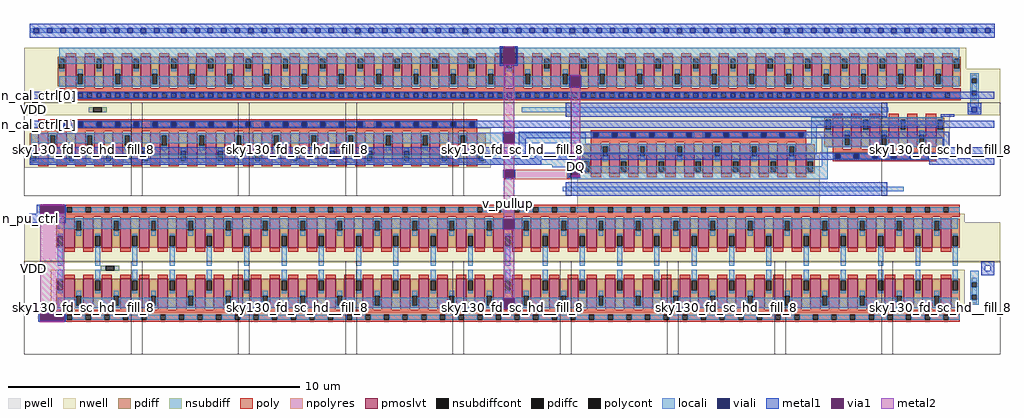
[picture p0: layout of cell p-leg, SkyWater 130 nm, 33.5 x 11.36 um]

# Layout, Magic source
magic
tech sky130A
magscale 1 2
<< nwell >>
rect -34 1925 160 2067
rect -34 1680 6666 1925
rect -14 1604 6666 1680
rect 3722 1351 5429 1604
rect 3763 929 5429 1169
rect -34 592 6666 869
<< pwell >>
rect 30 2162 74 2196
rect 766 2162 810 2196
rect 1502 2162 1546 2196
rect 2238 2162 2282 2196
rect 2974 2162 3018 2196
rect 3710 2162 3754 2196
rect 4446 2162 4490 2196
rect 5182 2162 5226 2196
rect 5918 2162 5962 2196
<< nsubdiff >>
rect 6473 1857 6507 1881
rect 6473 1773 6507 1823
rect 6473 1706 6507 1739
rect 409 1625 443 1659
rect 501 1625 535 1659
rect 493 537 527 571
rect 585 537 619 571
rect 6473 457 6507 490
rect 6473 373 6507 423
rect 6473 315 6507 339
<< nsubdiffcont >>
rect 6473 1823 6507 1857
rect 6473 1739 6507 1773
rect 443 1625 501 1659
rect 527 537 585 571
rect 6473 423 6507 457
rect 6473 339 6507 373
<< poly >>
rect 773 1494 831 1576
rect 1541 1494 1599 1576
rect 2309 1494 2367 1576
rect 4567 1420 4625 1502
<< locali >>
rect 4 2169 33 2203
rect 67 2169 125 2203
rect 159 2169 217 2203
rect 251 2169 309 2203
rect 343 2169 401 2203
rect 435 2169 493 2203
rect 527 2169 585 2203
rect 619 2169 677 2203
rect 711 2169 769 2203
rect 803 2169 861 2203
rect 895 2169 953 2203
rect 987 2169 1045 2203
rect 1079 2169 1137 2203
rect 1171 2169 1229 2203
rect 1263 2169 1321 2203
rect 1355 2169 1413 2203
rect 1447 2169 1505 2203
rect 1539 2169 1597 2203
rect 1631 2169 1689 2203
rect 1723 2169 1781 2203
rect 1815 2169 1873 2203
rect 1907 2169 1965 2203
rect 1999 2169 2057 2203
rect 2091 2169 2149 2203
rect 2183 2169 2241 2203
rect 2275 2169 2333 2203
rect 2367 2169 2425 2203
rect 2459 2169 2517 2203
rect 2551 2169 2609 2203
rect 2643 2169 2701 2203
rect 2735 2169 2793 2203
rect 2827 2169 2885 2203
rect 2919 2169 2977 2203
rect 3011 2169 3069 2203
rect 3103 2169 3161 2203
rect 3195 2169 3253 2203
rect 3287 2169 3345 2203
rect 3379 2169 3437 2203
rect 3471 2169 3529 2203
rect 3563 2169 3621 2203
rect 3655 2169 3713 2203
rect 3747 2169 3805 2203
rect 3839 2169 3897 2203
rect 3931 2169 3989 2203
rect 4023 2169 4081 2203
rect 4115 2169 4173 2203
rect 4207 2169 4265 2203
rect 4299 2169 4357 2203
rect 4391 2169 4449 2203
rect 4483 2169 4541 2203
rect 4575 2169 4633 2203
rect 4667 2169 4725 2203
rect 4759 2169 4817 2203
rect 4851 2169 4909 2203
rect 4943 2169 5001 2203
rect 5035 2169 5093 2203
rect 5127 2169 5185 2203
rect 5219 2169 5277 2203
rect 5311 2169 5369 2203
rect 5403 2169 5461 2203
rect 5495 2169 5553 2203
rect 5587 2169 5645 2203
rect 5679 2169 5737 2203
rect 5771 2169 5829 2203
rect 5863 2169 5921 2203
rect 5955 2169 6013 2203
rect 6047 2169 6105 2203
rect 6139 2169 6197 2203
rect 6231 2169 6289 2203
rect 6323 2169 6381 2203
rect 6415 2169 6473 2203
rect 6507 2169 6565 2203
rect 6599 2169 6629 2203
rect 208 1957 3239 2067
rect 3349 1957 6386 2067
rect 6461 1857 6519 1892
rect 6461 1823 6473 1857
rect 6507 1823 6519 1857
rect 6461 1773 6519 1823
rect 6461 1739 6473 1773
rect 6507 1739 6519 1773
rect 6461 1659 6519 1739
rect 3383 1625 5899 1659
rect 6444 1625 6473 1659
rect 6507 1625 6536 1659
rect 5369 1537 6273 1591
rect 3135 1480 3823 1483
rect 3135 1424 3260 1480
rect 3330 1424 3823 1480
rect 3135 1412 3823 1424
rect 3752 1338 3823 1412
rect 5369 1338 5409 1537
rect 17 1304 3718 1329
rect 17 1264 3845 1304
rect 3594 1255 3845 1264
rect 5443 1255 5483 1454
rect 3594 1248 5483 1255
rect 3718 1164 5483 1248
rect 3666 1081 6006 1115
rect 198 571 232 646
rect 454 571 488 646
rect 710 571 744 646
rect 966 571 1000 646
rect 1222 571 1256 646
rect 1478 571 1512 646
rect 1734 571 1768 646
rect 1990 571 2024 646
rect 2246 571 2280 646
rect 2502 571 2536 646
rect 2758 571 2792 646
rect 3014 571 3048 646
rect 3270 571 3304 646
rect 3526 571 3560 646
rect 3782 571 3816 646
rect 4038 571 4072 646
rect 4294 571 4328 646
rect 4550 571 4584 646
rect 4806 571 4840 646
rect 5062 571 5096 646
rect 5318 571 5352 646
rect 5574 571 5608 646
rect 5830 571 5864 646
rect 6086 571 6120 646
rect 6342 571 6376 646
rect 6461 457 6519 537
rect 6461 423 6473 457
rect 6507 423 6519 457
rect 6461 373 6519 423
rect 6461 339 6473 373
rect 6507 339 6519 373
rect 6461 304 6519 339
<< viali >>
rect 33 2169 67 2203
rect 125 2169 159 2203
rect 217 2169 251 2203
rect 309 2169 343 2203
rect 401 2169 435 2203
rect 493 2169 527 2203
rect 585 2169 619 2203
rect 677 2169 711 2203
rect 769 2169 803 2203
rect 861 2169 895 2203
rect 953 2169 987 2203
rect 1045 2169 1079 2203
rect 1137 2169 1171 2203
rect 1229 2169 1263 2203
rect 1321 2169 1355 2203
rect 1413 2169 1447 2203
rect 1505 2169 1539 2203
rect 1597 2169 1631 2203
rect 1689 2169 1723 2203
rect 1781 2169 1815 2203
rect 1873 2169 1907 2203
rect 1965 2169 1999 2203
rect 2057 2169 2091 2203
rect 2149 2169 2183 2203
rect 2241 2169 2275 2203
rect 2333 2169 2367 2203
rect 2425 2169 2459 2203
rect 2517 2169 2551 2203
rect 2609 2169 2643 2203
rect 2701 2169 2735 2203
rect 2793 2169 2827 2203
rect 2885 2169 2919 2203
rect 2977 2169 3011 2203
rect 3069 2169 3103 2203
rect 3161 2169 3195 2203
rect 3253 2169 3287 2203
rect 3345 2169 3379 2203
rect 3437 2169 3471 2203
rect 3529 2169 3563 2203
rect 3621 2169 3655 2203
rect 3713 2169 3747 2203
rect 3805 2169 3839 2203
rect 3897 2169 3931 2203
rect 3989 2169 4023 2203
rect 4081 2169 4115 2203
rect 4173 2169 4207 2203
rect 4265 2169 4299 2203
rect 4357 2169 4391 2203
rect 4449 2169 4483 2203
rect 4541 2169 4575 2203
rect 4633 2169 4667 2203
rect 4725 2169 4759 2203
rect 4817 2169 4851 2203
rect 4909 2169 4943 2203
rect 5001 2169 5035 2203
rect 5093 2169 5127 2203
rect 5185 2169 5219 2203
rect 5277 2169 5311 2203
rect 5369 2169 5403 2203
rect 5461 2169 5495 2203
rect 5553 2169 5587 2203
rect 5645 2169 5679 2203
rect 5737 2169 5771 2203
rect 5829 2169 5863 2203
rect 5921 2169 5955 2203
rect 6013 2169 6047 2203
rect 6105 2169 6139 2203
rect 6197 2169 6231 2203
rect 6289 2169 6323 2203
rect 6381 2169 6415 2203
rect 6473 2169 6507 2203
rect 6565 2169 6599 2203
rect 3239 1957 3349 2067
rect 3719 1804 3783 1872
rect 208 1724 242 1758
rect 336 1724 370 1758
rect 464 1724 498 1758
rect 592 1724 626 1758
rect 720 1724 754 1758
rect 848 1724 882 1758
rect 976 1724 1010 1758
rect 1104 1724 1138 1758
rect 1232 1724 1266 1758
rect 1360 1724 1394 1758
rect 1488 1724 1522 1758
rect 1616 1724 1650 1758
rect 1744 1724 1778 1758
rect 1872 1724 1906 1758
rect 2000 1724 2034 1758
rect 2128 1724 2162 1758
rect 2256 1724 2290 1758
rect 2384 1724 2418 1758
rect 2512 1724 2546 1758
rect 2640 1724 2674 1758
rect 2768 1724 2802 1758
rect 2896 1724 2930 1758
rect 3024 1724 3058 1758
rect 3152 1724 3186 1758
rect 3280 1724 3314 1758
rect 3408 1724 3442 1758
rect 3536 1724 3570 1758
rect 3664 1724 3698 1758
rect 3792 1724 3826 1758
rect 3920 1724 3954 1758
rect 4048 1724 4082 1758
rect 4176 1724 4210 1758
rect 4304 1724 4338 1758
rect 4432 1724 4466 1758
rect 4560 1724 4594 1758
rect 4688 1724 4722 1758
rect 4816 1724 4850 1758
rect 4944 1724 4978 1758
rect 5072 1724 5106 1758
rect 5200 1724 5234 1758
rect 5328 1724 5362 1758
rect 5456 1724 5490 1758
rect 5584 1724 5618 1758
rect 5712 1724 5746 1758
rect 5840 1724 5874 1758
rect 5968 1724 6002 1758
rect 6096 1724 6130 1758
rect 6473 1625 6507 1659
rect 81 1526 115 1560
rect 209 1526 243 1560
rect 337 1526 371 1560
rect 465 1526 499 1560
rect 593 1526 627 1560
rect 721 1526 755 1560
rect 849 1526 883 1560
rect 977 1526 1011 1560
rect 1105 1526 1139 1560
rect 1233 1526 1267 1560
rect 1361 1526 1395 1560
rect 1489 1526 1523 1560
rect 1617 1526 1651 1560
rect 1745 1526 1779 1560
rect 1873 1526 1907 1560
rect 2001 1526 2035 1560
rect 2129 1526 2163 1560
rect 2257 1526 2291 1560
rect 2385 1526 2419 1560
rect 2513 1526 2547 1560
rect 2641 1526 2675 1560
rect 2769 1526 2803 1560
rect 2897 1526 2931 1560
rect 3025 1526 3059 1560
rect 3260 1424 3330 1480
rect 3875 1452 3909 1486
rect 4003 1452 4037 1486
rect 4131 1452 4165 1486
rect 4259 1452 4293 1486
rect 4387 1452 4421 1486
rect 4515 1452 4549 1486
rect 4643 1452 4677 1486
rect 4771 1452 4805 1486
rect 4899 1452 4933 1486
rect 5027 1452 5061 1486
rect 5155 1452 5189 1486
rect 5283 1452 5317 1486
rect 5535 1306 5569 1340
rect 5663 1306 5697 1340
rect 5791 1306 5825 1340
rect 5919 1306 5953 1340
rect 6047 1306 6081 1340
rect 6175 1306 6209 1340
rect 76 931 242 983
rect 3266 827 3324 885
rect 3266 283 3324 341
rect 76 193 242 245
<< metal1 >>
rect 4 2203 6629 2234
rect 4 2169 33 2203
rect 67 2169 125 2203
rect 159 2169 217 2203
rect 251 2169 309 2203
rect 343 2169 401 2203
rect 435 2169 493 2203
rect 527 2169 585 2203
rect 619 2169 677 2203
rect 711 2169 769 2203
rect 803 2169 861 2203
rect 895 2169 953 2203
rect 987 2169 1045 2203
rect 1079 2169 1137 2203
rect 1171 2169 1229 2203
rect 1263 2169 1321 2203
rect 1355 2169 1413 2203
rect 1447 2169 1505 2203
rect 1539 2169 1597 2203
rect 1631 2169 1689 2203
rect 1723 2169 1781 2203
rect 1815 2169 1873 2203
rect 1907 2169 1965 2203
rect 1999 2169 2057 2203
rect 2091 2169 2149 2203
rect 2183 2169 2241 2203
rect 2275 2169 2333 2203
rect 2367 2169 2425 2203
rect 2459 2169 2517 2203
rect 2551 2169 2609 2203
rect 2643 2169 2701 2203
rect 2735 2169 2793 2203
rect 2827 2169 2885 2203
rect 2919 2169 2977 2203
rect 3011 2169 3069 2203
rect 3103 2169 3161 2203
rect 3195 2169 3253 2203
rect 3287 2169 3345 2203
rect 3379 2169 3437 2203
rect 3471 2169 3529 2203
rect 3563 2169 3621 2203
rect 3655 2169 3713 2203
rect 3747 2169 3805 2203
rect 3839 2169 3897 2203
rect 3931 2169 3989 2203
rect 4023 2169 4081 2203
rect 4115 2169 4173 2203
rect 4207 2169 4265 2203
rect 4299 2169 4357 2203
rect 4391 2169 4449 2203
rect 4483 2169 4541 2203
rect 4575 2169 4633 2203
rect 4667 2169 4725 2203
rect 4759 2169 4817 2203
rect 4851 2169 4909 2203
rect 4943 2169 5001 2203
rect 5035 2169 5093 2203
rect 5127 2169 5185 2203
rect 5219 2169 5277 2203
rect 5311 2169 5369 2203
rect 5403 2169 5461 2203
rect 5495 2169 5553 2203
rect 5587 2169 5645 2203
rect 5679 2169 5737 2203
rect 5771 2169 5829 2203
rect 5863 2169 5921 2203
rect 5955 2169 6013 2203
rect 6047 2169 6105 2203
rect 6139 2169 6197 2203
rect 6231 2169 6289 2203
rect 6323 2169 6381 2203
rect 6415 2169 6473 2203
rect 6507 2169 6565 2203
rect 6599 2169 6629 2203
rect 4 2138 6629 2169
rect 3233 2071 3355 2079
rect 3233 2067 3260 2071
rect 3330 2067 3355 2071
rect 3233 1957 3239 2067
rect 3349 1957 3355 2067
rect 3233 1956 3260 1957
rect 3330 1956 3355 1957
rect 3233 1945 3355 1956
rect 3713 1872 3789 1884
rect 3709 1801 3719 1872
rect 3783 1801 3793 1872
rect 3713 1792 3789 1801
rect 4 1758 6628 1764
rect 4 1724 208 1758
rect 242 1724 336 1758
rect 370 1724 464 1758
rect 498 1724 592 1758
rect 626 1724 720 1758
rect 754 1724 848 1758
rect 882 1724 976 1758
rect 1010 1724 1104 1758
rect 1138 1724 1232 1758
rect 1266 1724 1360 1758
rect 1394 1724 1488 1758
rect 1522 1724 1616 1758
rect 1650 1724 1744 1758
rect 1778 1724 1872 1758
rect 1906 1724 2000 1758
rect 2034 1724 2128 1758
rect 2162 1724 2256 1758
rect 2290 1724 2384 1758
rect 2418 1724 2512 1758
rect 2546 1724 2640 1758
rect 2674 1724 2768 1758
rect 2802 1724 2896 1758
rect 2930 1724 3024 1758
rect 3058 1724 3152 1758
rect 3186 1724 3280 1758
rect 3314 1724 3408 1758
rect 3442 1724 3536 1758
rect 3570 1724 3664 1758
rect 3698 1724 3792 1758
rect 3826 1724 3920 1758
rect 3954 1724 4048 1758
rect 4082 1724 4176 1758
rect 4210 1724 4304 1758
rect 4338 1724 4432 1758
rect 4466 1724 4560 1758
rect 4594 1724 4688 1758
rect 4722 1724 4816 1758
rect 4850 1724 4944 1758
rect 4978 1724 5072 1758
rect 5106 1724 5200 1758
rect 5234 1724 5328 1758
rect 5362 1724 5456 1758
rect 5490 1724 5584 1758
rect 5618 1724 5712 1758
rect 5746 1724 5840 1758
rect 5874 1724 5968 1758
rect 6002 1724 6096 1758
rect 6130 1724 6628 1758
rect 4 1718 6628 1724
rect 3684 1594 5892 1690
rect 6444 1659 6536 1690
rect 6444 1625 6473 1659
rect 6507 1625 6536 1659
rect 6444 1612 6536 1625
rect 6260 1594 6352 1612
rect 4 1560 6628 1566
rect 4 1526 81 1560
rect 115 1526 209 1560
rect 243 1526 337 1560
rect 371 1526 465 1560
rect 499 1526 593 1560
rect 627 1526 721 1560
rect 755 1526 849 1560
rect 883 1526 977 1560
rect 1011 1526 1105 1560
rect 1139 1526 1233 1560
rect 1267 1526 1361 1560
rect 1395 1526 1489 1560
rect 1523 1526 1617 1560
rect 1651 1526 1745 1560
rect 1779 1526 1873 1560
rect 1907 1526 2001 1560
rect 2035 1526 2129 1560
rect 2163 1526 2257 1560
rect 2291 1526 2385 1560
rect 2419 1526 2513 1560
rect 2547 1526 2641 1560
rect 2675 1526 2769 1560
rect 2803 1526 2897 1560
rect 2931 1526 3025 1560
rect 3059 1526 6628 1560
rect 4 1520 6628 1526
rect 3254 1480 3336 1492
rect 3254 1412 3260 1480
rect 3330 1412 3336 1480
rect 3364 1486 6318 1492
rect 3364 1452 3875 1486
rect 3909 1452 4003 1486
rect 4037 1452 4131 1486
rect 4165 1452 4259 1486
rect 4293 1452 4387 1486
rect 4421 1452 4515 1486
rect 4549 1452 4643 1486
rect 4677 1452 4771 1486
rect 4805 1452 4899 1486
rect 4933 1452 5027 1486
rect 5061 1452 5155 1486
rect 5189 1452 5283 1486
rect 5317 1452 6318 1486
rect 3364 1446 6318 1452
rect 3364 1384 3410 1446
rect 4 1338 3410 1384
rect 6272 1384 6318 1446
rect 3471 1340 6227 1346
rect 3471 1310 5535 1340
rect 4 1306 5535 1310
rect 5569 1306 5663 1340
rect 5697 1306 5791 1340
rect 5825 1306 5919 1340
rect 5953 1306 6047 1340
rect 6081 1306 6175 1340
rect 6209 1310 6227 1340
rect 6272 1338 6628 1384
rect 6209 1306 6628 1310
rect 4 1300 6628 1306
rect 4 1264 3517 1300
rect 3700 1249 3783 1270
rect 6181 1264 6628 1300
rect 3700 1230 3719 1249
rect 3256 1174 3266 1230
rect 3330 1174 3340 1230
rect 3709 1193 3719 1230
rect 3752 1174 3783 1193
rect 3684 1050 5892 1146
rect 53 983 254 989
rect 53 931 76 983
rect 242 931 254 983
rect 53 929 254 931
rect 2 865 254 929
rect 3254 821 3260 891
rect 3330 821 3336 891
rect 6536 571 6628 602
rect 6536 537 6565 571
rect 6599 537 6628 571
rect 6536 506 6628 537
rect 3254 277 3260 347
rect 3330 277 3336 347
rect 64 245 254 256
rect 64 193 76 245
rect 242 193 254 245
rect 64 187 254 193
<< via1 >>
rect 3260 2067 3330 2071
rect 3260 1957 3330 2067
rect 3260 1956 3330 1957
rect 3719 1804 3783 1872
rect 3719 1801 3783 1804
rect 3260 1424 3330 1480
rect 3260 1412 3330 1424
rect 3266 1174 3330 1230
rect 3719 1193 3783 1249
rect 76 931 242 983
rect 3260 885 3330 891
rect 3260 827 3266 885
rect 3266 827 3324 885
rect 3324 827 3330 885
rect 3260 821 3330 827
rect 3260 341 3330 347
rect 3260 283 3266 341
rect 3266 283 3324 341
rect 3324 283 3330 341
rect 3260 277 3330 283
rect 76 193 242 245
<< metal2 >>
rect 3260 2071 3330 2077
rect 3260 1480 3330 1956
rect 3260 1230 3330 1412
rect 3260 1174 3266 1230
rect 3719 1872 3783 1882
rect 3719 1249 3783 1801
rect 3719 1183 3783 1193
rect 76 983 242 993
rect 76 245 242 931
rect 3260 891 3330 1174
rect 3260 347 3330 821
rect 3260 271 3330 277
rect 76 183 242 193
use p-leg_6  p-leg_6_0
transform 1 0 1058 0 -1 1415
box -1089 -161 -191 172
use p-leg_6  p-leg_6_1
transform 1 0 1826 0 -1 1415
box -1089 -161 -191 172
use p-leg_6  p-leg_6_2
transform 1 0 2594 0 -1 1415
box -1089 -161 -191 172
use p-leg_6  p-leg_6_3
transform 1 0 3362 0 -1 1415
box -1089 -161 -191 172
use p-leg_6  p-leg_6_4
transform 1 0 4852 0 -1 1341
box -1089 -161 -191 172
use p-leg_6  p-leg_6_5
transform 1 0 5620 0 -1 1341
box -1089 -161 -191 172
use p-leg_6  p-leg_6_6
transform 1 0 6512 0 1 1451
box -1089 -161 -191 172
use p-leg_fet_16  p-leg_fet_16_0
transform 1 0 1239 0 1 347
box -1089 -161 1089 198
use p-leg_fet_16  p-leg_fet_16_1
transform 1 0 3287 0 1 347
box -1089 -161 1089 198
use p-leg_fet_16  p-leg_fet_16_2
transform 1 0 5335 0 1 347
box -1089 -161 1089 198
use p-leg_fet_16  p-leg_fet_16_3
transform 1 0 1239 0 -1 829
box -1089 -161 1089 198
use p-leg_fet_16  p-leg_fet_16_4
transform 1 0 3287 0 -1 829
box -1089 -161 1089 198
use p-leg_fet_16  p-leg_fet_16_5
transform 1 0 5335 0 -1 829
box -1089 -161 1089 198
use p-leg_fet_16  p-leg_fet_16_6
transform -1 0 3297 0 1 1869
box -1089 -161 1089 198
use p-leg_fet_16  p-leg_fet_16_7
transform -1 0 5345 0 1 1869
box -1089 -161 1089 198
use p-leg_fet_16  p-leg_fet_16_8
transform -1 0 1249 0 1 1869
box -1089 -161 1089 198
use p-leg_polyres  p-leg_polyres_0
transform 0 -1 3515 1 0 1197
box -33 -253 33 253
use sky130_fd_sc_hd__fill_8  sky130_fd_sc_hd__fill_8_0 
transform 1 0 4 0 1 10
box -38 -48 774 592
use sky130_fd_sc_hd__fill_8  sky130_fd_sc_hd__fill_8_1
transform 1 0 740 0 1 10
box -38 -48 774 592
use sky130_fd_sc_hd__fill_8  sky130_fd_sc_hd__fill_8_2
transform 1 0 1476 0 1 10
box -38 -48 774 592
use sky130_fd_sc_hd__fill_8  sky130_fd_sc_hd__fill_8_3
transform 1 0 2212 0 1 10
box -38 -48 774 592
use sky130_fd_sc_hd__fill_8  sky130_fd_sc_hd__fill_8_4
transform 1 0 2948 0 1 10
box -38 -48 774 592
use sky130_fd_sc_hd__fill_8  sky130_fd_sc_hd__fill_8_5
transform 1 0 3684 0 1 10
box -38 -48 774 592
use sky130_fd_sc_hd__fill_8  sky130_fd_sc_hd__fill_8_6
transform 1 0 4420 0 1 10
box -38 -48 774 592
use sky130_fd_sc_hd__fill_8  sky130_fd_sc_hd__fill_8_7
transform 1 0 5156 0 1 10
box -38 -48 774 592
use sky130_fd_sc_hd__fill_8  sky130_fd_sc_hd__fill_8_8
transform 1 0 5892 0 1 10
box -38 -48 774 592
use sky130_fd_sc_hd__fill_8  sky130_fd_sc_hd__fill_8_9
transform 1 0 4 0 1 1098
box -38 -48 774 592
use sky130_fd_sc_hd__fill_8  sky130_fd_sc_hd__fill_8_10
transform 1 0 740 0 1 1098
box -38 -48 774 592
use sky130_fd_sc_hd__fill_8  sky130_fd_sc_hd__fill_8_11
transform 1 0 1476 0 1 1098
box -38 -48 774 592
use sky130_fd_sc_hd__fill_8  sky130_fd_sc_hd__fill_8_12
transform 1 0 2212 0 1 1098
box -38 -48 774 592
use sky130_fd_sc_hd__fill_8  sky130_fd_sc_hd__fill_8_13
transform 1 0 2948 0 1 1098
box -38 -48 774 592
use sky130_fd_sc_hd__fill_8  sky130_fd_sc_hd__fill_8_17
transform 1 0 5892 0 1 1098
box -38 -48 774 592
<< labels >>
flabel metal1 s 30 553 30 553 7 FreeSerif 640 0 0 0 VDD
port 3 w
flabel metal1 s 30 1641 30 1641 7 FreeSerif 640 0 0 0 VDD
port 3 w
flabel metal1 s 26 1740 26 1740 7 FreeSerif 640 0 0 0 n_cal_ctrl[0]
port 4 w
flabel metal1 s 27 1542 27 1542 7 FreeSerif 640 0 0 0 n_cal_ctrl[1]
port 5 w
flabel metal2 3294 997 3294 997 7 FreeSerif 640 0 0 0 v_pullup
flabel metal2 s 3752 1250 3752 1250 3 FreeSerif 640 0 0 0 DQ
port 2 e
flabel metal1 s 27 1286 27 1286 7 FreeSerif 640 0 0 0 n_cal_ctrl[3]
port 7 w
flabel metal1 s 27 1360 27 1360 7 FreeSerif 640 0 0 0 n_cal_ctrl[2]
port 6 w
flabel metal1 s 2 865 2 929 7 FreeSerif 800 0 0 0 n_pu_ctrl
port 8 w
<< end >>

# cell p-leg_6: kit device sky130_fd_pr__pfet_01v8_lvt, w 1.0 l 0.35 m 1 nf 16 diffcov 100 polycov 100 guard 0 glc 0 grc 0 gtc 0 gbc 0 tbcov 100 rlcov 100 topc 0 botc 1 poverlap 0 doverlap 1 lmin 0.35 wmin 0.42 compatible {sky130_fd_pr__pfet_01v8 sky130_fd_pr__pfet_01v8_lvt sky130_fd_pr__pfet_01v8_hvt sky130_fd_pr__pfet_g5v0d10v5} full_metal 0 viasrc 100 viadrn 100 viagate 100 viagb 0 viagr 0 viagl 0 viagt 0

# cell p-leg_fet_16: kit device sky130_fd_pr__pfet_01v8_lvt, w 1.0 l 0.35 m 1 nf 16 diffcov 100 polycov 100 guard 0 glc 0 grc 0 gtc 0 gbc 0 tbcov 100 rlcov 100 topc 0 botc 1 poverlap 0 doverlap 1 lmin 0.35 wmin 0.42 compatible {sky130_fd_pr__pfet_01v8 sky130_fd_pr__pfet_01v8_lvt sky130_fd_pr__pfet_01v8_hvt sky130_fd_pr__pfet_g5v0d10v5} full_metal 0 viasrc 100 viadrn 100 viagate 100 viagb 0 viagr 0 viagl 0 viagt 0

# cell p-leg_polyres: kit device sky130_fd_pr__res_generic_po, w 0.330 l 1.8 m 1 nx 1 wmin 0.330 lmin 1.650 rho 48.2 val 262.909 dummy 0 dw 0.0 term 0.0 sterm 0.0 caplen 0.4 snake 0 guard 0 glc 0 grc 0 gtc 0 gbc 0 roverlap 0 endcov 100 full_metal 0 hv_guard 0 n_guard 0 vias 1 viagb 0 viagt 0 viagl 0 viagr 0
